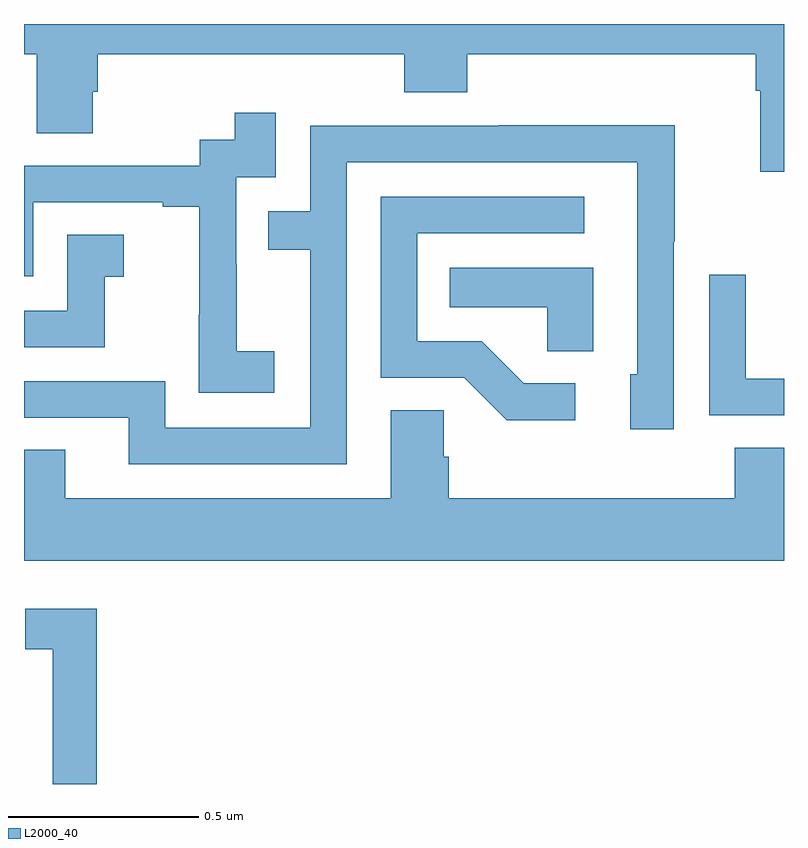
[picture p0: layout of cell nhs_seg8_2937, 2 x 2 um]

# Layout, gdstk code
import gdstk
lib = gdstk.Library(unit=1e-6, precision=1e-09)
def P(c, l, *ps):  # polygons
    for p in ps: c.add(gdstk.Polygon(p, *l))
L2000_40 = (2000, 40)

nhs_seg8_2937 = lib.new_cell('nhs_seg8_2937')
P(nhs_seg8_2937, L2000_40, [(152,1129.9),(150,1129.9),(150,1129.82),(150.034,1129.82),(150.034,1129.612),(150.181,1129.612),(150.181,1129.722),(150.194,1129.722),(150.194,1129.82),(151.001,1129.82),(151.001,1129.721),(151.166,1129.721),(151.166,1129.82),(151.925,1129.82),(151.925,1129.724),(151.937,1129.724),(151.937,1129.511),(152,1129.511)],
  [(150.658,1129.039),(150.56,1129.039),(150.56,1129.268),(150.558,1129.268),(150.558,1129.497),(150.663,1129.497),(150.663,1129.666),(150.555,1129.666),(150.555,1129.596),(150.462,1129.596),(150.462,1129.527),(150,1129.527),(150,1129.236),(150.024,1129.236),(150.024,1129.431),(150.365,1129.431),(150.365,1129.419),(150.461,1129.419),(150.461,1129.135),(150.46,1129.135),(150.46,1128.929),(150.658,1128.929)],
  [(150.849,1129.536),(151.614,1129.536),(151.614,1128.978),(151.595,1128.978),(151.595,1128.834),(151.71,1128.834),(151.71,1129.327),(151.713,1129.327),(151.713,1129.634),(151.249,1129.634),(151.249,1129.632),(150.753,1129.632),(150.753,1129.407),(150.643,1129.407),(150.643,1129.306),(150.753,1129.306),(150.753,1128.837),(150.372,1128.837),(150.372,1128.96),(150,1128.96),(150,1128.864),(150.275,1128.864),(150.275,1128.741),(150.849,1128.741)],
  [(151.45,1128.954),(151.315,1128.954),(151.204,1129.065),(151.035,1129.065),(151.035,1129.35),(151.474,1129.35),(151.474,1129.446),(150.939,1129.446),(150.939,1128.969),(151.158,1128.969),(151.271,1128.857),(151.45,1128.857)],
  [(150.213,1129.235),(150.262,1129.235),(150.262,1129.345),(150.114,1129.345),(150.114,1129.146),(150,1129.146),(150,1129.05),(150.213,1129.05)],
  [(151.498,1129.258),(151.12,1129.258),(151.12,1129.154),(151.377,1129.154),(151.377,1129.039),(151.498,1129.039)],
  [(152,1128.966),(151.899,1128.966),(151.899,1129.24),(151.803,1129.24),(151.803,1128.87),(152,1128.87)],
  [(152,1128.785),(151.871,1128.785),(151.871,1128.652),(151.118,1128.652),(151.118,1128.761),(151.104,1128.761),(151.104,1128.884),(150.965,1128.884),(150.965,1128.652),(150.109,1128.652),(150.109,1128.779),(150,1128.779),(150,1128.488),(152,1128.488)],
  [(150.191,1128.361),(150.003,1128.361),(150.003,1128.255),(150.075,1128.255),(150.075,1127.9),(150.191,1127.9)])

lib.write_gds('nhs_seg8_2937.gds')
